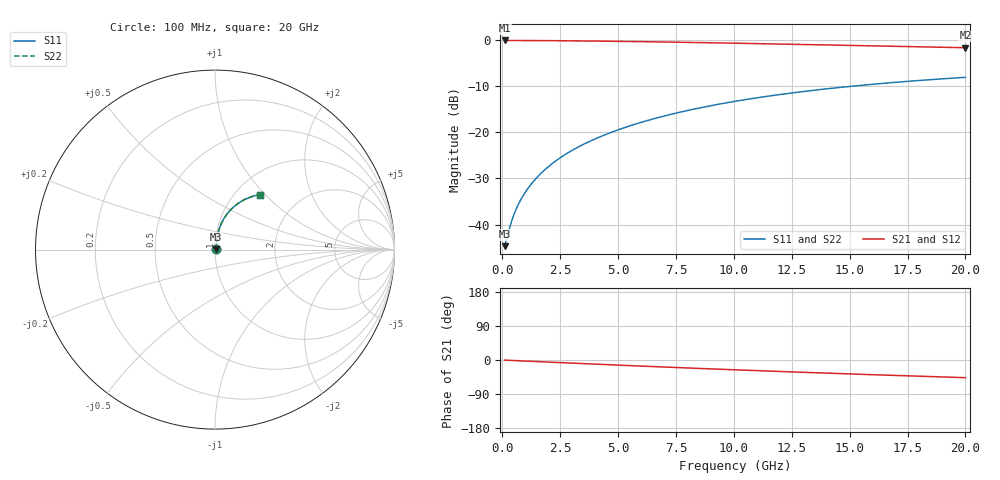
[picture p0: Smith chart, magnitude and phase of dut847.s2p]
! Touchstone file exported from HFSS 2024.1.0
!  File:  C:/UserFiles/LocalFiles/RDL_TSV_Batchsim/temp_RDL_top_847_1779855521.aedt
!  Generated:  12:20:53 PM May 27, 2026
!  Design:  RDL_top
!  Project:  temp_RDL_top_847_1779855521
!  Setup:  Setup1
!  Solution:  Sweep
! Variables:
!  dtsv = 10.80580581um
!  hbump = 3um
!  htsv = 71.6um
!  ldown = 100um
!  lrdl = 691.83um
!  p = 40
!  p1 = 41.1um
!  rhole = 1um
!  t = 450um
!  tdown = 3.915915916um
!  trdl = 2.49um
!  wdown = 15.38538539um
!  wrdl = 19.19um
# GHz S MA R 50.000000
! Terminal data exported
! Port[1] = Box2_T1
! Port[2] = Box2_T2
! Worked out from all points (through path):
!   200 points, 100 MHz to 20 GHz, reference 50 ohm
!   highest |S21| = -0.05 dB at 100 MHz (marker M1); lowest = -1.6 dB at 20 GHz (marker M2)
!   group delay of S21, straight-line fit = 6.45 ps
!   lowest |S11| = -44.7 dB at 100 MHz (marker M3), VSWR 1.01, Z = 50.5 + j0.238 ohm
!   |S11| at or under -10 dB: start of sweep to 15.05 GHz
!   |S22| runs from -44.7 to -8.0 dB; largest |S21 - S12| = 2.6e-15
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0.1  0.005828 23.8  0.9947 -0.3  0.9947 -0.3  0.005828 23.8
! Gamma 0 0 0 0
! Port Impedance 50 0 50 0
0.3  0.008951 50.6  0.9943 -0.9  0.9943 -0.9  0.008951 50.6
0.4  0.01085 56.9  0.994 -1.2  0.994 -1.2  0.01085 56.9
0.6  0.01473 64.4  0.9935 -1.7  0.9935 -1.7  0.01473 64.4
0.7  0.01669 66.8  0.9932 -2.0  0.9932 -2.0  0.01669 66.8
0.9  0.02059 70.2  0.9927 -2.5  0.9927 -2.5  0.02059 70.3
1.2  0.02651 73.7  0.9919 -3.4  0.9919 -3.4  0.02651 73.7
1.4  0.0305 75.2  0.9914 -3.9  0.9914 -3.9  0.0305 75.2
1.7  0.03655 76.9  0.9905 -4.7  0.9905 -4.7  0.03655 76.9
2.2  0.04678 78.5  0.9888 -6.1  0.9888 -6.1  0.04678 78.5
2.8  0.05928 79.5  0.9862 -7.7  0.9862 -7.7  0.05928 79.5
3.5  0.07411 79.8  0.9827 -9.6  0.9827 -9.6  0.07411 79.8
4.2  0.08917 79.6  0.9785 -11.5  0.9785 -11.5  0.08917 79.6
5  0.1066 78.9  0.9731 -13.5  0.9731 -13.5  0.1066 79.0
5.9  0.1264 77.9  0.9663 -15.8  0.9663 -15.8  0.1264 77.9
6.8  0.1464 76.5  0.9589 -18.1  0.9589 -18.1  0.1464 76.5
8.4  0.1817 73.8  0.9445 -22.0  0.9445 -22.0  0.1817 73.8
10.1  0.2184 70.4  0.9283 -26.0  0.9283 -26.0  0.2184 70.5
11.7  0.2518 67.2  0.9124 -29.7  0.9124 -29.7  0.2518 67.2
13.4  0.2855 63.7  0.8952 -33.4  0.8952 -33.4  0.2855 63.7
16.7  0.3449 57.0  0.8618 -40.2  0.8618 -40.2  0.3449 57.0
20  0.3958 50.6  0.8295 -46.6  0.8295 -46.6  0.3959 50.6
